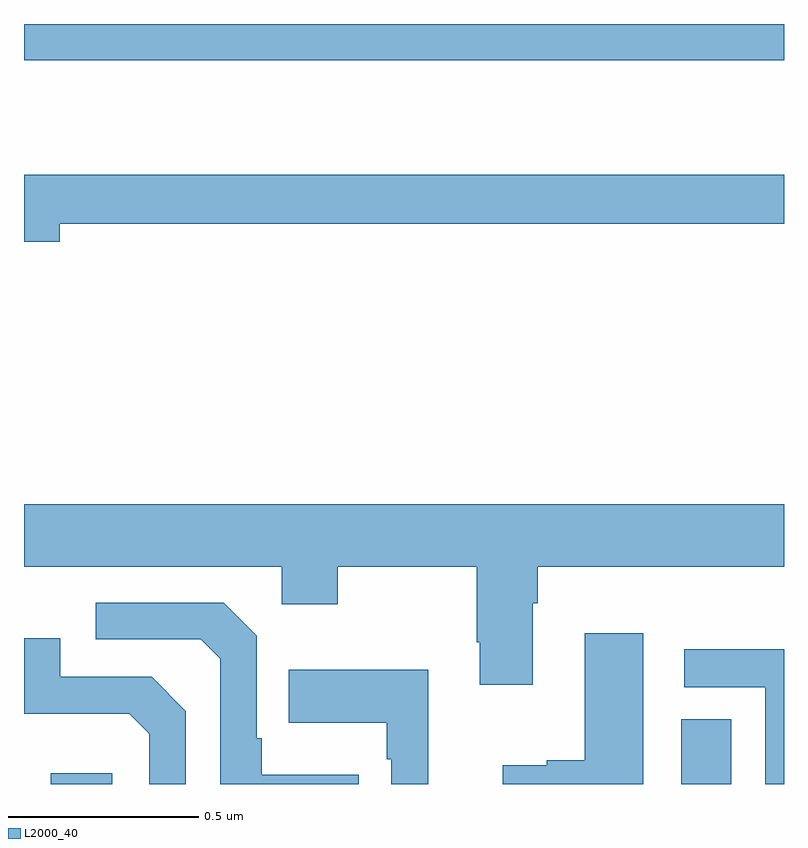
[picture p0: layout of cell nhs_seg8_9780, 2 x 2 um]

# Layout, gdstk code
import gdstk
lib = gdstk.Library(unit=1e-6, precision=1e-09)
def R(c, l, rs):  # rectangles x0, y0, x1, y1
    for r in rs: c.add(gdstk.rectangle(r[:2], r[2:], *l))
def P(c, l, *ps):  # polygons
    for p in ps: c.add(gdstk.Polygon(p, *l))
L2000_40 = (2000, 40)

nhs_seg8_9780 = lib.new_cell('nhs_seg8_9780')
R(nhs_seg8_9780, L2000_40, [(240.071,1143.9,240.232,1143.928), (241.73,1143.9,241.861,1144.07), (240,1145.804,242,1145.9)])
P(nhs_seg8_9780, L2000_40, [(240.094,1145.374),(242,1145.374),(242,1145.503),(240,1145.503),(240,1145.327),(240.094,1145.327)],
  [(241.339,1144.376),(241.352,1144.376),(241.352,1144.472),(242,1144.472),(242,1144.636),(240,1144.636),(240,1144.472),(240.678,1144.472),(240.678,1144.373),(240.825,1144.373),(240.825,1144.472),(241.192,1144.472),(241.192,1144.273),(241.199,1144.273),(241.199,1144.161),(241.339,1144.161)],
  [(240.881,1143.925),(240.625,1143.925),(240.625,1144.021),(240.612,1144.021),(240.612,1144.29),(240.525,1144.377),(240.189,1144.377),(240.189,1144.281),(240.465,1144.281),(240.516,1144.23),(240.516,1143.9),(240.881,1143.9)],
  [(241.63,1144.297),(241.475,1144.297),(241.475,1143.962),(241.376,1143.962),(241.376,1143.949),(241.26,1143.949),(241.26,1143.9),(241.63,1143.9)],
  [(240.426,1144.092),(240.336,1144.182),(240.096,1144.182),(240.096,1144.284),(240,1144.284),(240,1144.085),(240.277,1144.085),(240.33,1144.032),(240.33,1143.9),(240.426,1143.9)],
  [(242,1144.254),(241.737,1144.254),(241.737,1144.155),(241.95,1144.155),(241.95,1143.9),(242,1143.9)],
  [(241.064,1144.201),(240.697,1144.201),(240.697,1144.061),(240.954,1144.061),(240.954,1143.965),(240.966,1143.965),(240.966,1143.9),(241.064,1143.9)])

lib.write_gds('nhs_seg8_9780.gds')
